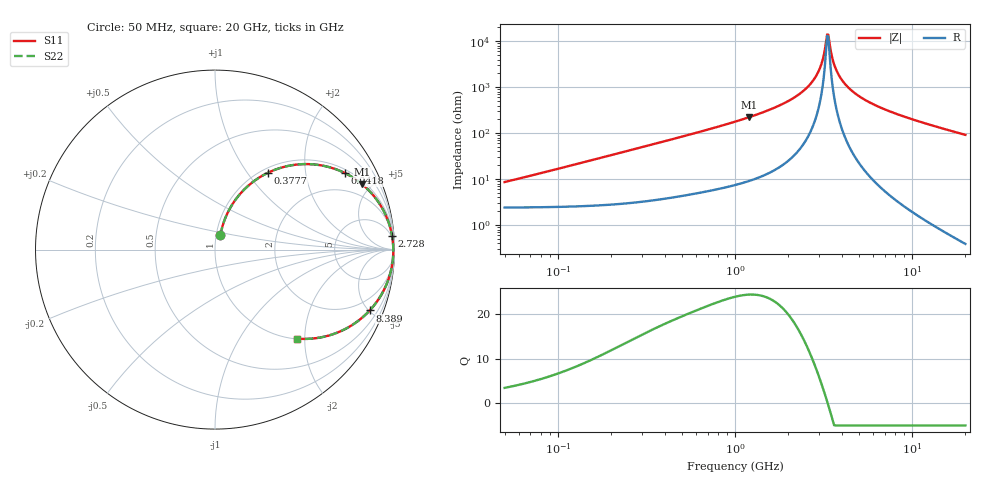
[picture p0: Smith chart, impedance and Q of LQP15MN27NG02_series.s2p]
!Murata Part Number: LQP15MN27NG02
!These Parameters are Measured in Series Mode Connection
!  o--[Z]--o
!Port1  Port2
!  o-------o
!Freq. Start=50[MHz] Stop=20[GHz], 401[Steps]
# Hz S RI R 50
!Freq.(Hz) S11(Real) S11(Imag) S21(Real) S21(Imag) S12(Real) S12(Imag) S22(Real) S22(Imag)
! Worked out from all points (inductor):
!   401 points, 50 MHz to 20 GHz, reference 50 ohm
!   read as one part in series: L = 26.4 nH near 51.52 MHz
!   highest Q = 24.4 at 1.197 GHz (marker M1), where L = 29.5 nH
!   self-resonance near 3.314 GHz
!   S11 on the Smith chart (normalised r, x): 50 MHz: 1.05, +0.17; 377.7 MHz: 1.07, +1.26; 941.8 MHz: 1.14, +3.32; 2.728 GHz: 4, +26; 8.389 GHz: 1.06, -5.07; 20 GHz: 1.01, -1.84
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5e7  0.0299 0.0787  0.9701 -0.0787  0.9701 -0.0787  0.0299 0.0787
1.364002e8  0.0705 0.2053  0.9295 -0.2053  0.9295 -0.2053  0.0705 0.2053
3.721004e8  0.2892 0.4253  0.7108 -0.4253  0.7108 -0.4253  0.2892 0.4253
3.777159e8  0.295 0.4282  0.705 -0.4282  0.705 -0.4282  0.295 0.4282
6.009314e8  0.5072 0.4765  0.4928 -0.4765  0.4928 -0.4765  0.5072 0.4765
9.418449e8  0.7253 0.4257  0.2747 -0.4257  0.2747 -0.4257  0.7253 0.4257
1e9  0.7512 0.4119  0.2488 -0.4119  0.2488 -0.4119  0.7512 0.4119
1.196911e9  0.8215 0.363  0.1785 -0.363  0.1785 -0.363  0.8215 0.363
2.021818e9  0.9548 0.1839  0.0452 -0.1839  0.0452 -0.1839  0.9548 0.1839
2.419936e9  0.9775 0.1181  0.0225 -0.1181  0.0225 -0.1181  0.9775 0.1181
2.728004e9  0.9869 0.0741  0.0131 -0.0741  0.0131 -0.0741  0.9869 0.0741
3.029571e9  0.9918 0.0356  0.00822 -0.0356  0.00822 -0.0356  0.9918 0.0356
3.121702e9  0.9926 0.0246  0.00742 -0.0246  0.00742 -0.0246  0.9926 0.0246
3.265178e9  0.9933 0.0081  0.00668 -0.0081  0.00668 -0.0081  0.9933 0.0081
3.364474e9  0.9935 -0.00292  0.00651 0.00292  0.00651 0.00292  0.9935 -0.00292
3.680849e9  0.9925 -0.036  0.00749 0.036  0.00749 0.036  0.9925 -0.036
4.212059e9  0.9867 -0.0859  0.0133 0.0859  0.0133 0.0859  0.9867 -0.0859
5.273168e9  0.9649 -0.1695  0.0351 0.1695  0.0351 0.1695  0.9649 -0.1695
7.442007e9  0.897 -0.2966  0.103 0.2966  0.103 0.2966  0.897 -0.2966
8.389408e9  0.8621 -0.3387  0.1379 0.3387  0.1379 0.3387  0.8621 -0.3387
1.334722e10  0.6703 -0.4668  0.3297 0.4668  0.3297 0.4668  0.6703 -0.4668
2e10  0.4585 -0.4962  0.5415 0.4962  0.5415 0.4962  0.4585 -0.4962
